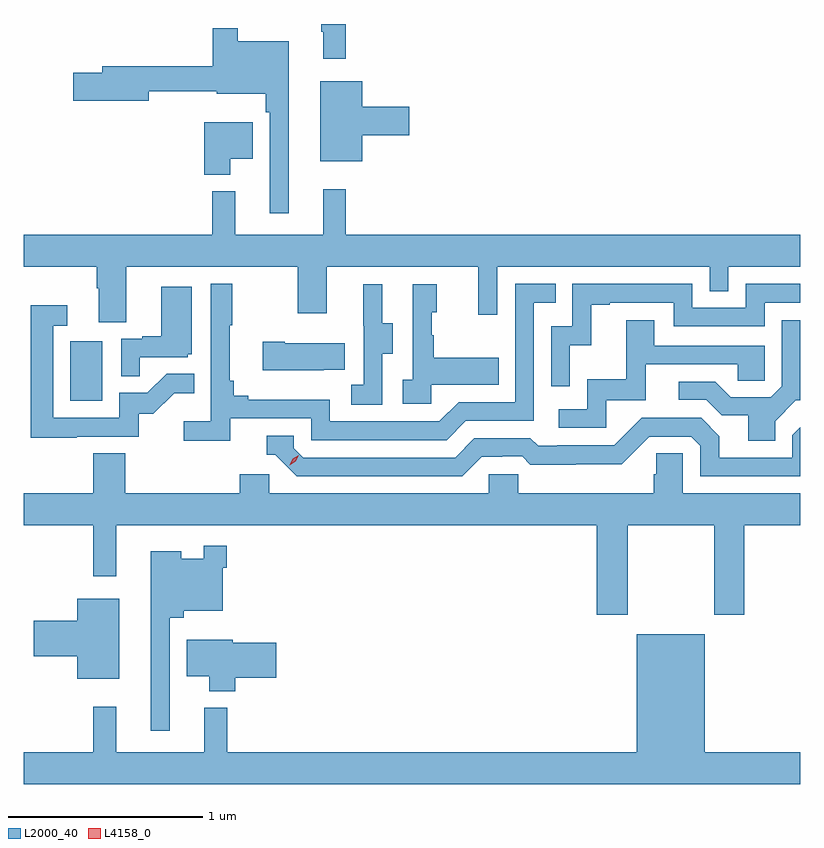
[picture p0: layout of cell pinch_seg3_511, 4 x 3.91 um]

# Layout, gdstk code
import gdstk
lib = gdstk.Library(unit=1e-6, precision=1e-09)
def R(c, l, rs):  # rectangles x0, y0, x1, y1
    for r in rs: c.add(gdstk.rectangle(r[:2], r[2:], *l))
def P(c, l, *ps):  # polygons
    for p in ps: c.add(gdstk.Polygon(p, *l))
L2000_40 = (2000, 40)
L4158_0 = (4158, 0)

pinch_seg3_511 = lib.new_cell('pinch_seg3_511')
R(pinch_seg3_511, L2000_40, [(964.298,685.572,964.462,685.879)])
P(pinch_seg3_511, L2000_40, [(965.717,687.513),(965.589,687.513),(965.589,687.473),(965.6,687.473),(965.6,687.333),(965.717,687.333)],
  [(965.422,687.424),(965.161,687.424),(965.161,687.49),(965.032,687.49),(965.032,687.295),(964.463,687.295),(964.463,687.261),(964.314,687.261),(964.314,687.119),(964.702,687.119),(964.702,687.166),(965.051,687.166),(965.051,687.155),(965.305,687.155),(965.305,687.059),(965.325,687.059),(965.325,686.538),(965.422,686.538)],
  [(965.8,686.939),(966.043,686.939),(966.043,687.086),(965.8,687.086),(965.8,687.217),(965.585,687.217),(965.585,686.807),(965.8,686.807)],
  [(965.122,686.819),(965.236,686.819),(965.236,687.007),(964.988,687.007),(964.988,686.738),(965.122,686.738)],
  [(964.585,686.264),(965.47,686.264),(965.47,686.025),(965.617,686.025),(965.617,686.264),(966.398,686.264),(966.398,686.016),(966.495,686.016),(966.495,686.264),(967.59,686.264),(967.59,686.137),(967.686,686.137),(967.686,686.264),(968.057,686.264),(968.057,686.428),(965.717,686.428),(965.717,686.662),(965.6,686.662),(965.6,686.428),(965.147,686.428),(965.147,686.653),(965.029,686.653),(965.029,686.428),(964.057,686.428),(964.057,686.264),(964.433,686.264),(964.433,686.152),(964.445,686.152),(964.445,685.978),(964.585,685.978)],
  [(965.12,685.482),(965.538,685.482),(965.538,685.371),(966.235,685.371),(966.334,685.47),(966.684,685.47),(966.684,686.079),(966.797,686.079),(966.797,686.175),(966.588,686.175),(966.588,685.566),(966.297,685.566),(966.198,685.467),(965.634,685.467),(965.634,685.579),(965.215,685.579),(965.215,685.598),(965.138,685.598),(965.138,685.675),(965.119,685.675),(965.119,685.963),(965.131,685.963),(965.131,686.176),(965.022,686.176),(965.022,685.468),(964.881,685.468),(964.881,685.366),(965.12,685.366)],
  [(966.87,685.859),(966.98,685.859),(966.98,686.067),(967.075,686.067),(967.075,686.079),(967.404,686.079),(967.404,685.956),(967.872,685.956),(967.872,686.079),(968.057,686.079),(968.057,686.175),(967.776,686.175),(967.776,686.052),(967.5,686.052),(967.5,686.175),(966.882,686.175),(966.882,685.956),(966.774,685.956),(966.774,685.647),(966.87,685.647)],
  [(966.156,685.655),(966.503,685.655),(966.503,685.795),(966.169,685.795),(966.169,685.91),(966.159,685.91),(966.159,686.028),(966.184,686.028),(966.184,686.173),(966.06,686.173),(966.06,685.682),(966.009,685.682),(966.009,685.557),(966.156,685.557)],
  [(965.904,685.816),(965.959,685.816),(965.959,685.971),(965.905,685.971),(965.905,686.173),(965.807,686.173),(965.807,685.959),(965.808,685.959),(965.808,685.655),(965.745,685.655),(965.745,685.552),(965.904,685.552)],
  [(964.655,685.797),(964.902,685.797),(964.902,685.812),(964.924,685.812),(964.924,686.161),(964.766,686.161),(964.766,685.906),(964.667,685.906),(964.667,685.893),(964.56,685.893),(964.56,685.699),(964.655,685.699)],
  [(964.331,685.389),(964.65,685.389),(964.65,685.506),(964.726,685.506),(964.833,685.613),(964.937,685.613),(964.937,685.712),(964.793,685.712),(964.695,685.614),(964.551,685.614),(964.551,685.485),(964.209,685.485),(964.209,685.959),(964.282,685.959),(964.282,686.065),(964.093,686.065),(964.093,685.384),(964.331,685.384)],
  [(967.056,685.575),(967.261,685.575),(967.261,685.761),(967.735,685.761),(967.735,685.677),(967.872,685.677),(967.872,685.857),(967.303,685.857),(967.303,685.987),(967.159,685.987),(967.159,685.684),(966.96,685.684),(966.96,685.53),(966.813,685.53),(966.813,685.434),(967.056,685.434)],
  [(967.927,685.468),(968.034,685.575),(968.057,685.575),(968.057,685.987),(967.962,685.987),(967.962,685.647),(967.905,685.59),(967.699,685.59),(967.618,685.671),(967.431,685.671),(967.431,685.578),(967.572,685.578),(967.652,685.498),(967.787,685.498),(967.787,685.366),(967.927,685.366)],
  [(965.603,685.733),(965.711,685.733),(965.711,685.87),(965.401,685.87),(965.401,685.878),(965.289,685.878),(965.289,685.73),(965.603,685.73)],
  [(966.415,685.284),(966.522,685.284),(966.522,685.287),(966.625,685.287),(966.667,685.245),(966.9,685.245),(966.9,685.247),(967.136,685.247),(967.278,685.389),(967.494,685.389),(967.542,685.341),(967.542,685.185),(968.057,685.185),(968.057,685.436),(968.016,685.395),(968.016,685.281),(967.639,685.281),(967.639,685.391),(967.545,685.485),(967.239,685.485),(967.098,685.344),(966.805,685.344),(966.805,685.341),(966.706,685.341),(966.667,685.38),(966.378,685.38),(966.279,685.281),(965.496,685.281),(965.448,685.329),(965.448,685.392),(965.309,685.392),(965.309,685.296),(965.352,685.296),(965.463,685.185),(966.316,685.185)],
  [(967.167,684.932),(967.612,684.932),(967.612,684.471),(967.767,684.471),(967.767,684.932),(968.057,684.932),(968.057,685.096),(967.452,685.096),(967.452,685.304),(967.315,685.304),(967.315,685.194),(967.301,685.194),(967.301,685.096),(966.603,685.096),(966.603,685.194),(966.453,685.194),(966.453,685.096),(965.322,685.096),(965.322,685.194),(965.171,685.194),(965.171,685.096),(964.58,685.096),(964.58,685.304),(964.415,685.304),(964.415,685.096),(964.057,685.096),(964.057,684.932),(964.417,684.932),(964.417,684.669),(964.534,684.669),(964.534,684.932),(967.007,684.932),(967.007,684.471),(967.167,684.471)],
  [(964.809,684.455),(964.883,684.455),(964.883,684.491),(965.082,684.491),(965.082,684.713),(965.102,684.713),(965.102,684.826),(964.986,684.826),(964.986,684.76),(964.87,684.76),(964.87,684.799),(964.712,684.799),(964.712,683.874),(964.809,683.874)],
  [(964.549,684.553),(964.334,684.553),(964.334,684.44),(964.11,684.44),(964.11,684.257),(964.334,684.257),(964.334,684.143),(964.549,684.143)],
  [(968.057,683.764),(967.564,683.764),(967.564,684.37),(967.214,684.37),(967.214,683.764),(965.105,683.764),(965.105,683.992),(964.988,683.992),(964.988,683.764),(964.535,683.764),(964.535,683.998),(964.417,683.998),(964.417,683.764),(964.057,683.764),(964.057,683.6),(968.057,683.6)],
  [(965.147,684.148),(965.359,684.148),(965.359,684.326),(965.134,684.326),(965.134,684.343),(964.898,684.343),(964.898,684.155),(965.012,684.155),(965.012,684.077),(965.147,684.077)])
P(pinch_seg3_511, L4158_0, [(965.427,685.241),(965.427,685.242),(965.443,685.274),(965.473,685.293),(965.474,685.293),(965.474,685.293),(965.458,685.261),(965.427,685.241)])

lib.write_gds('pinch_seg3_511.gds')
